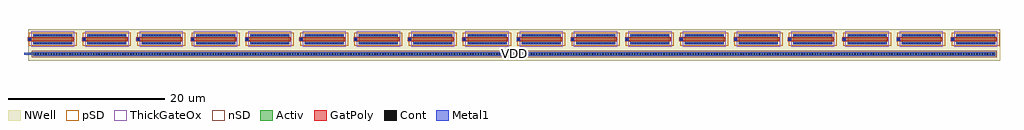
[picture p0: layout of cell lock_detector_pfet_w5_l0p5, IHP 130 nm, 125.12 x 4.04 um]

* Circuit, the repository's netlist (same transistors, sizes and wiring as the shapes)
* extracted by klt extract --deck sg13cmos5l

* cell lock_detector_pfet_w5_l0p5
* pin VDD
.SUBCKT lock_detector_pfet_w5_l0p5 VDD
* device instance $1 r0 *1 3.8,3.11 pfet
X$1 \$38 \$2 \$3 VDD sg13_hv_pmos L=0.5U W=5U AS=2P AD=2P PS=10.8U PD=10.8U
* device instance $2 r0 *1 10.76,3.11 pfet
X$2 \$39 \$4 \$5 VDD sg13_hv_pmos L=0.5U W=5U AS=2P AD=2P PS=10.8U PD=10.8U
* device instance $3 r0 *1 17.72,3.11 pfet
X$3 \$40 \$6 \$7 VDD sg13_hv_pmos L=0.5U W=5U AS=2P AD=2P PS=10.8U PD=10.8U
* device instance $4 r0 *1 24.68,3.11 pfet
X$4 \$41 \$8 \$9 VDD sg13_hv_pmos L=0.5U W=5U AS=2P AD=2P PS=10.8U PD=10.8U
* device instance $5 r0 *1 31.64,3.11 pfet
X$5 \$42 \$10 \$11 VDD sg13_hv_pmos L=0.5U W=5U AS=2P AD=2P PS=10.8U PD=10.8U
* device instance $6 r0 *1 38.6,3.11 pfet
X$6 \$43 \$12 \$13 VDD sg13_hv_pmos L=0.5U W=5U AS=2P AD=2P PS=10.8U PD=10.8U
* device instance $7 r0 *1 45.56,3.11 pfet
X$7 \$44 \$14 \$15 VDD sg13_hv_pmos L=0.5U W=5U AS=2P AD=2P PS=10.8U PD=10.8U
* device instance $8 r0 *1 52.52,3.11 pfet
X$8 \$45 \$16 \$17 VDD sg13_hv_pmos L=0.5U W=5U AS=2P AD=2P PS=10.8U PD=10.8U
* device instance $9 r0 *1 59.48,3.11 pfet
X$9 \$46 \$18 \$19 VDD sg13_hv_pmos L=0.5U W=5U AS=2P AD=2P PS=10.8U PD=10.8U
* device instance $10 r0 *1 66.44,3.11 pfet
X$10 \$47 \$20 \$21 VDD sg13_hv_pmos L=0.5U W=5U AS=2P AD=2P PS=10.8U PD=10.8U
* device instance $11 r0 *1 73.4,3.11 pfet
X$11 \$48 \$22 \$23 VDD sg13_hv_pmos L=0.5U W=5U AS=2P AD=2P PS=10.8U PD=10.8U
* device instance $12 r0 *1 80.36,3.11 pfet
X$12 \$49 \$24 \$25 VDD sg13_hv_pmos L=0.5U W=5U AS=2P AD=2P PS=10.8U PD=10.8U
* device instance $13 r0 *1 87.32,3.11 pfet
X$13 \$50 \$26 \$27 VDD sg13_hv_pmos L=0.5U W=5U AS=2P AD=2P PS=10.8U PD=10.8U
* device instance $14 r0 *1 94.28,3.11 pfet
X$14 \$51 \$28 \$29 VDD sg13_hv_pmos L=0.5U W=5U AS=2P AD=2P PS=10.8U PD=10.8U
* device instance $15 r0 *1 101.24,3.11 pfet
X$15 \$52 \$30 \$31 VDD sg13_hv_pmos L=0.5U W=5U AS=2P AD=2P PS=10.8U PD=10.8U
* device instance $16 r0 *1 108.2,3.11 pfet
X$16 \$53 \$32 \$33 VDD sg13_hv_pmos L=0.5U W=5U AS=2P AD=2P PS=10.8U PD=10.8U
* device instance $17 r0 *1 115.16,3.11 pfet
X$17 \$54 \$34 \$35 VDD sg13_hv_pmos L=0.5U W=5U AS=2P AD=2P PS=10.8U PD=10.8U
* device instance $18 r0 *1 122.12,3.11 pfet
X$18 \$55 \$36 \$37 VDD sg13_hv_pmos L=0.5U W=5U AS=2P AD=2P PS=10.8U PD=10.8U
.ENDS lock_detector_pfet_w5_l0p5

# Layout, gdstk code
import gdstk
lib = gdstk.Library(unit=1e-6, precision=1e-09)
def R(c, l, rs):  # rectangles x0, y0, x1, y1
    for r in rs: c.add(gdstk.rectangle(r[:2], r[2:], *l))
def A(c, l, x, y, w, h, nx, ny, dx, dy):  # array of equal rectangles
    R(c, l, [(x+i*dx, y+j*dy, x+i*dx+w, y+j*dy+h) for i in range(nx) for j in range(ny)])
Activ = (1, 0)
GatPoly = (5, 0)
Cont = (6, 0)
nSD = (7, 0)
Metal1 = (8, 0)
pSD = (14, 0)
NWell = (31, 0)
ThickGateOx = (44, 0)

lock_detector_pfet_w5_l0 = lib.new_cell('lock_detector_pfet_w5_l0p5')
A(lock_detector_pfet_w5_l0, Activ, 1.3, 2.46, 5, 1.3, 18, 1, 6.96, 0)
R(lock_detector_pfet_w5_l0, Activ, [(1.3,0.96,124.62,1.46)])
A(lock_detector_pfet_w5_l0, GatPoly, 0.62, 2.86, 0.5, 0.5, 18, 1, 6.96, 0)
A(lock_detector_pfet_w5_l0, GatPoly, 1.12, 2.86, 5.36, 0.5, 18, 1, 6.96, 0)
A(lock_detector_pfet_w5_l0, Cont, 1.51, 1.13, 0.16, 0.16, 362, 1, 0.34, 0)
A(lock_detector_pfet_w5_l0, Cont, 1.51, 2.53, 0.16, 0.16, 14, 2, 0.34, 1)
A(lock_detector_pfet_w5_l0, Cont, 8.47, 2.53, 0.16, 0.16, 14, 2, 0.34, 1)
A(lock_detector_pfet_w5_l0, Cont, 15.43, 2.53, 0.16, 0.16, 14, 2, 0.34, 1)
A(lock_detector_pfet_w5_l0, Cont, 22.39, 2.53, 0.16, 0.16, 14, 2, 0.34, 1)
A(lock_detector_pfet_w5_l0, Cont, 29.35, 2.53, 0.16, 0.16, 14, 2, 0.34, 1)
A(lock_detector_pfet_w5_l0, Cont, 36.31, 2.53, 0.16, 0.16, 14, 2, 0.34, 1)
A(lock_detector_pfet_w5_l0, Cont, 43.27, 2.53, 0.16, 0.16, 14, 2, 0.34, 1)
A(lock_detector_pfet_w5_l0, Cont, 50.23, 2.53, 0.16, 0.16, 14, 2, 0.34, 1)
A(lock_detector_pfet_w5_l0, Cont, 57.19, 2.53, 0.16, 0.16, 14, 2, 0.34, 1)
A(lock_detector_pfet_w5_l0, Cont, 64.15, 2.53, 0.16, 0.16, 14, 2, 0.34, 1)
A(lock_detector_pfet_w5_l0, Cont, 71.11, 2.53, 0.16, 0.16, 14, 2, 0.34, 1)
A(lock_detector_pfet_w5_l0, Cont, 78.07, 2.53, 0.16, 0.16, 14, 2, 0.34, 1)
A(lock_detector_pfet_w5_l0, Cont, 85.03, 2.53, 0.16, 0.16, 14, 2, 0.34, 1)
A(lock_detector_pfet_w5_l0, Cont, 91.99, 2.53, 0.16, 0.16, 14, 2, 0.34, 1)
A(lock_detector_pfet_w5_l0, Cont, 98.95, 2.53, 0.16, 0.16, 14, 2, 0.34, 1)
A(lock_detector_pfet_w5_l0, Cont, 105.91, 2.53, 0.16, 0.16, 14, 2, 0.34, 1)
A(lock_detector_pfet_w5_l0, Cont, 112.87, 2.53, 0.16, 0.16, 14, 2, 0.34, 1)
A(lock_detector_pfet_w5_l0, Cont, 119.83, 2.53, 0.16, 0.16, 14, 2, 0.34, 1)
A(lock_detector_pfet_w5_l0, Cont, 0.79, 3.03, 0.16, 0.16, 18, 1, 6.96, 0)
R(lock_detector_pfet_w5_l0, nSD, [(1.12,0.78,124.8,1.64)])
A(lock_detector_pfet_w5_l0, Metal1, 1.3, 2.46, 5, 0.26, 18, 2, 6.96, 1.04)
A(lock_detector_pfet_w5_l0, Metal1, 0.67, 2.91, 0.4, 0.4, 18, 1, 6.96, 0)
R(lock_detector_pfet_w5_l0, Metal1, [(1.3,0.96,124.62,1.46), (0.125,1.085,1.3,1.335)])
A(lock_detector_pfet_w5_l0, pSD, 0.72, 2.28, 6.16, 1.66, 18, 1, 6.96, 0)
R(lock_detector_pfet_w5_l0, NWell, [(0.68,0.34,125.24,4.38)])
A(lock_detector_pfet_w5_l0, ThickGateOx, 1.03, 2.12, 5.54, 1.98, 18, 1, 6.96, 0)
lock_detector_pfet_w5_l0.add(gdstk.Label('VDD', (62.96,1.21), layer=8, texttype=2))
lock_detector_pfet_w5_l0.add(gdstk.Label('VDD', (62.96,2.36), layer=31, texttype=2))

lib.write_gds('lock_detector_pfet_w5_l0p5.gds')
